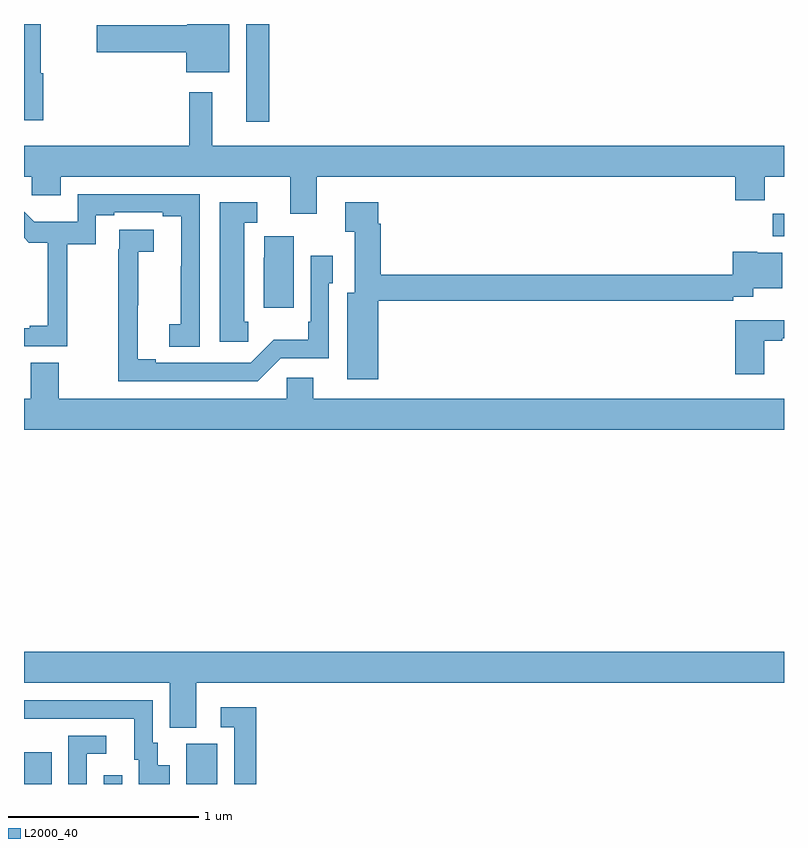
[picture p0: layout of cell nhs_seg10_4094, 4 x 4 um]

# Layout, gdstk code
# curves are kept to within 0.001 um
import gdstk
lib = gdstk.Library(unit=1e-6, precision=1e-09)
def R(c, l, rs):  # rectangles x0, y0, x1, y1
    for r in rs: c.add(gdstk.rectangle(r[:2], r[2:], *l))
def P(c, l, *ps):  # polygons
    for p in ps: c.add(gdstk.Polygon(p, *l))
L2000_40 = (2000, 40)

nhs_seg10_4094 = lib.new_cell('nhs_seg10_4094')
R(nhs_seg10_4094, L2000_40, [(339,1250.5,339.145,1250.668), (339.42,1250.5,339.516,1250.545), (339.854,1250.5,340.018,1250.712), (342.94,1253.384,343,1253.502), (340.169,1253.985,340.291,1254.5)])
P(nhs_seg10_4094, L2000_40, [(339.101,1254.241),(339.088,1254.241),(339.088,1254.5),(339,1254.5),(339,1253.993),(339.101,1253.993)],
  [(340.081,1254.499),(339.858,1254.499),(339.858,1254.494),(339.384,1254.494),(339.384,1254.352),(339.854,1254.352),(339.854,1254.245),(340.081,1254.245)],
  [(340.54,1253.696),(342.743,1253.696),(342.743,1253.572),(342.899,1253.572),(342.899,1253.696),(343,1253.696),(343,1253.86),(339.991,1253.86),(339.991,1254.142),(339.87,1254.142),(339.87,1253.86),(339,1253.86),(339,1253.696),(339.042,1253.696),(339.042,1253.598),(339.193,1253.598),(339.193,1253.696),(340.4,1253.696),(340.4,1253.502),(340.54,1253.502)],
  [(339.924,1253.604),(339.282,1253.604),(339.282,1253.458),(339.053,1253.458),(339,1253.511),(339,1253.374),(339.025,1253.349),(339.125,1253.349),(339.125,1252.912),(339.029,1252.912),(339.029,1252.899),(339,1252.899),(339,1252.803),(339.227,1252.803),(339.227,1253.341),(339.378,1253.341),(339.378,1253.494),(339.475,1253.494),(339.475,1253.508),(339.731,1253.508),(339.731,1253.488),(339.827,1253.488),(339.826,1252.921),(339.765,1252.921),(339.765,1252.801),(339.924,1252.801)],
  [(340.181,1252.932),(340.159,1252.932),(340.159,1253.455),(340.228,1253.455),(340.228,1253.563),(340.031,1253.563),(340.031,1252.827),(340.181,1252.827)],
  [(340.864,1253.044),(342.734,1253.044),(342.734,1253.064),(342.837,1253.064),(342.837,1253.108),(342.991,1253.108),(342.991,1253.296),(342.858,1253.296),(342.858,1253.302),(342.729,1253.302),(342.729,1253.18),(340.877,1253.18),(340.877,1253.45),(340.864,1253.45),(340.864,1253.563),(340.692,1253.563),(340.692,1253.407),(340.742,1253.407),(340.742,1253.086),(340.7,1253.086),(340.7,1252.629),(340.864,1252.629)],
  [(340.35,1252.74),(340.605,1252.74),(340.605,1253.136),(340.626,1253.136),(340.626,1253.281),(340.509,1253.281),(340.509,1252.933),(340.497,1252.933),(340.497,1252.837),(340.315,1252.837),(340.194,1252.716),(339.694,1252.716),(339.694,1252.736),(339.598,1252.736),(339.6,1253.302),(339.682,1253.302),(339.682,1253.417),(339.502,1253.417),(339.502,1253.315),(339.496,1253.315),(339.496,1252.62),(340.23,1252.62)],
  [(340.42,1253.383),(340.264,1253.383),(340.264,1253.27),(340.262,1253.27),(340.262,1253.007),(340.42,1253.007)],
  [(342.895,1252.833),(342.991,1252.833),(342.991,1252.845),(343,1252.845),(343,1252.942),(342.743,1252.942),(342.743,1252.656),(342.895,1252.656)],
  [(343,1252.528),(340.522,1252.528),(340.522,1252.638),(340.383,1252.638),(340.383,1252.528),(339.183,1252.528),(339.183,1252.718),(339.035,1252.718),(339.035,1252.528),(339,1252.528),(339,1252.364),(343,1252.364)],
  [(339.907,1251.032),(343,1251.032),(343,1251.196),(339,1251.196),(339,1251.032),(339.767,1251.032),(339.767,1250.797),(339.907,1250.797)],
  [(339.766,1250.599),(339.703,1250.599),(339.703,1250.718),(339.678,1250.718),(339.678,1250.94),(339,1250.94),(339,1250.844),(339.581,1250.844),(339.581,1250.628),(339.605,1250.628),(339.605,1250.5),(339.766,1250.5)],
  [(340.223,1250.905),(340.035,1250.905),(340.035,1250.799),(340.107,1250.799),(340.107,1250.5),(340.223,1250.5)],
  [(339.33,1250.658),(339.433,1250.658),(339.433,1250.754),(339.234,1250.754),(339.234,1250.5),(339.33,1250.5)])

lib.write_gds('nhs_seg10_4094.gds')
